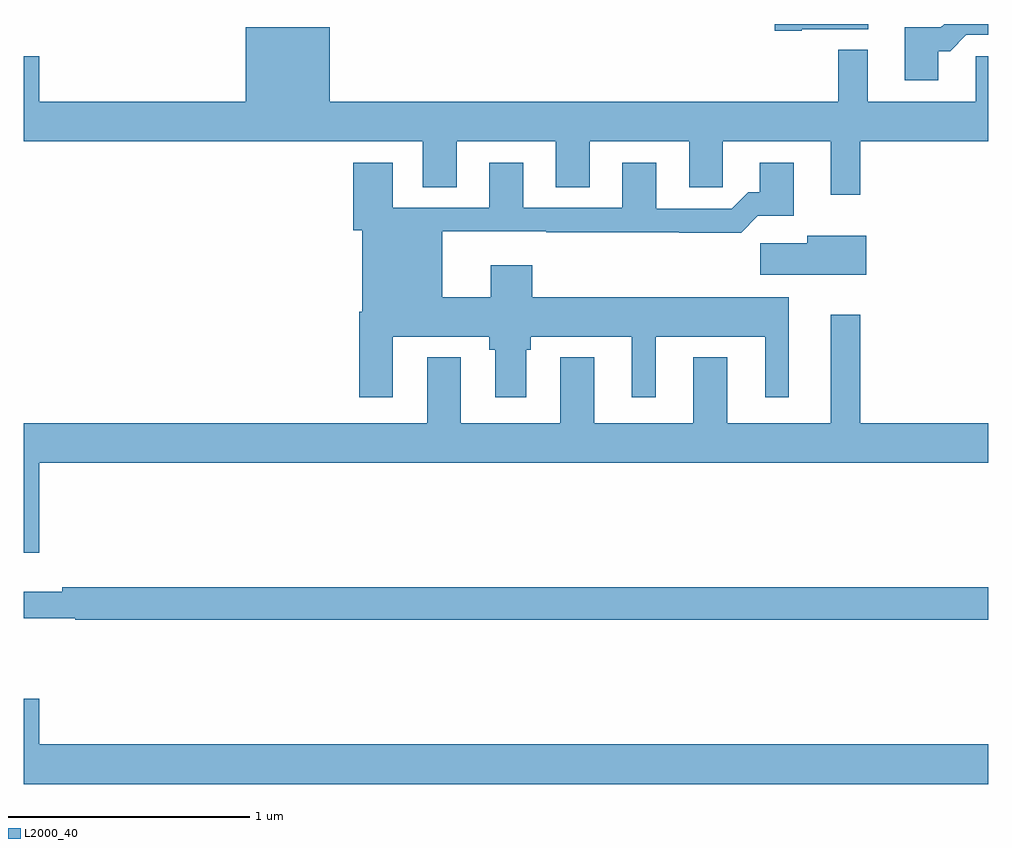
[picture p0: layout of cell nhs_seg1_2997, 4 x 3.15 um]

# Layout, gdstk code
import gdstk
lib = gdstk.Library(unit=1e-6, precision=1e-09)
def P(c, l, *ps):  # polygons
    for p in ps: c.add(gdstk.Polygon(p, *l))
L2000_40 = (2000, 40)

nhs_seg1_2997 = lib.new_cell('nhs_seg1_2997')
P(nhs_seg1_2997, L2000_40, [(276.226,572.177),(276.502,572.177),(276.502,572.199),(276.114,572.199),(276.114,572.17),(276.226,572.17)],
  [(276.793,572.087),(276.842,572.087),(276.909,572.154),(277,572.154),(277,572.199),(276.816,572.199),(276.802,572.185),(276.653,572.185),(276.653,571.965),(276.793,571.965)],
  [(276.469,571.712),(277,571.712),(277,572.066),(276.948,572.066),(276.948,571.876),(276.499,571.876),(276.499,572.092),(276.378,572.092),(276.378,571.876),(274.27,571.876),(274.27,572.185),(273.92,572.185),(273.92,571.876),(273.064,571.876),(273.064,572.065),(273,572.065),(273,571.712),(274.655,571.712),(274.655,571.522),(274.795,571.522),(274.795,571.712),(275.207,571.712),(275.207,571.522),(275.347,571.522),(275.347,571.712),(275.759,571.712),(275.759,571.522),(275.898,571.522),(275.898,571.712),(276.347,571.712),(276.347,571.491),(276.469,571.491)],
  [(274.531,570.902),(274.93,570.902),(274.93,570.849),(274.955,570.849),(274.955,570.651),(275.083,570.651),(275.083,570.849),(275.103,570.849),(275.103,570.902),(275.522,570.902),(275.522,570.651),(275.62,570.651),(275.62,570.902),(276.074,570.902),(276.074,570.651),(276.172,570.651),(276.172,571.066),(275.108,571.066),(275.108,571.198),(274.937,571.198),(274.937,571.066),(274.735,571.066),(274.735,571.34),(275.167,571.34),(275.167,571.336),(275.719,571.336),(275.719,571.334),(275.975,571.334),(276.044,571.403),(276.193,571.403),(276.193,571.624),(276.053,571.624),(276.053,571.501),(276.004,571.501),(275.937,571.434),(275.623,571.434),(275.623,571.624),(275.483,571.624),(275.483,571.437),(275.071,571.437),(275.071,571.624),(274.931,571.624),(274.931,571.437),(274.531,571.437),(274.531,571.624),(274.367,571.624),(274.367,571.344),(274.403,571.344),(274.403,571.006),(274.391,571.006),(274.391,570.651),(274.531,570.651)],
  [(276.493,571.321),(276.248,571.321),(276.248,571.289),(276.054,571.289),(276.054,571.16),(276.493,571.16)],
  [(273.064,570.38),(277,570.38),(277,570.544),(276.469,570.544),(276.469,570.994),(276.347,570.994),(276.347,570.544),(275.917,570.544),(275.917,570.817),(275.777,570.817),(275.777,570.544),(275.365,570.544),(275.365,570.817),(275.225,570.817),(275.225,570.544),(274.813,570.544),(274.813,570.817),(274.673,570.817),(274.673,570.544),(273,570.544),(273,570.006),(273.064,570.006)],
  [(277,569.864),(273.16,569.864),(273.16,569.845),(273,569.845),(273,569.736),(273.214,569.736),(273.214,569.728),(277,569.728)],
  [(277,569.212),(273.064,569.212),(273.064,569.401),(273,569.401),(273,569.048),(277,569.048)])

lib.write_gds('nhs_seg1_2997.gds')
